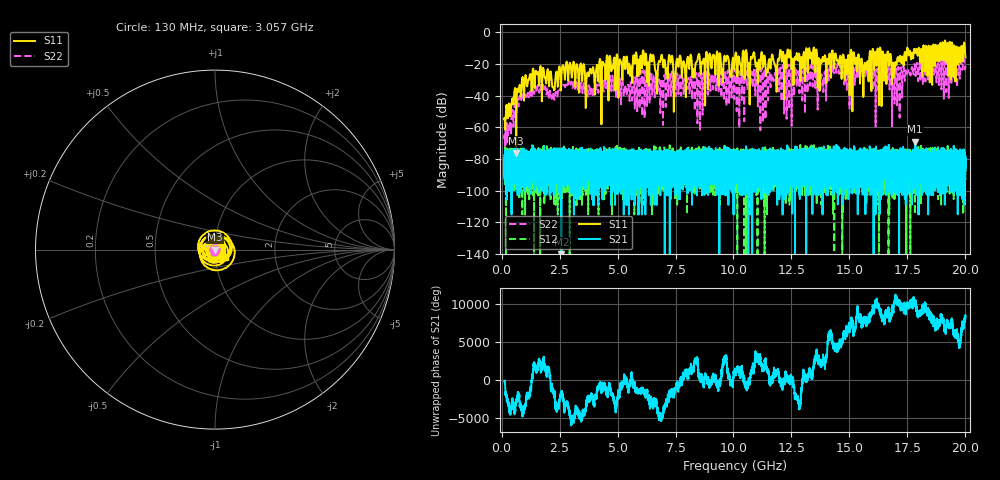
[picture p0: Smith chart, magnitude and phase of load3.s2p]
!Created with skrf (http://scikit-rf.org).
# GHz S RI R 50.0
!freq ReS11 ImS11 ReS21 ImS21 ReS12 ImS12 ReS22 ImS22
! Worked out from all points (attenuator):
!   20013 points, 130 MHz to 20 GHz, reference 50 ohm
!   highest |S21| = -69.11 dB at 17.84 GHz (marker M1); lowest = -178.6 dB at 2.576 GHz (marker M2)
!   lowest |S11| = -76.4 dB at 633 MHz (marker M3), VSWR 1.00, Z = 50 + j0.00104 ohm
!   |S11| at or under -10 dB: start of sweep to 13.26 GHz; 13.47 GHz to 16.31 GHz (2.84 GHz wide, 19.1 % of centre); 16.33 GHz to 17.49 GHz (1.156 GHz wide, 6.83 % of centre) (the widest 3 of 24)
!   |S22| runs from -82.0 to -16.0 dB; largest |S21 - S12| = 0.00043
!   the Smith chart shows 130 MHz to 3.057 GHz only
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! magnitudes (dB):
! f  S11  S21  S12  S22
! 130 MHz  -54.4  -80.0  -83.6  -64.8
! 633 MHz  -76.4  -87.2  -79.2  -48.9
! 1.42 GHz  -35.3  -89.1  -79.5  -37.7
! 2.237 GHz  -35.2  -89.7  -79.4  -39.9
! 2.576 GHz  -29.4  -178.6  -74.7  -33.7
! 3.442 GHz  -22.3  -78.0  -86.1  -32.0
! 5.542 GHz  -27.2  -80.5  -76.8  -36.6
! 6.156 GHz  -19.4  -80.5  -78.6  -34.0
! 6.754 GHz  -20.7  -81.8  -85.1  -32.2
! 7.287 GHz  -19.2  -76.4  -77.1  -35.5
! 7.476 GHz  -30.1  -79.1  -92.8  -25.6
! 7.635 GHz  -21.0  -76.8  -82.7  -37.1
! 10.06 GHz  -15.7  -90.0  -85.3  -24.8
! 11.82 GHz  -22.6  -89.3  -78.9  -26.8
! 12.06 GHz  -14.9  -86.9  -79.9  -32.0
! 13.38 GHz  -14.2  -76.1  -75.5  -22.4
! 15.66 GHz  -19.9  -80.8  -81.9  -23.2
! 15.95 GHz  -36.7  -83.4  -79.3  -23.2
! 16.69 GHz  -16.8  -72.8  -85.8  -23.0
! 16.91 GHz  -23.6  -79.8  -83.2  -23.6
! 17.84 GHz  -12.9  -69.1  -84.4  -25.6
! 20 GHz  -15.9  -80.3  -78.8  -21.1
